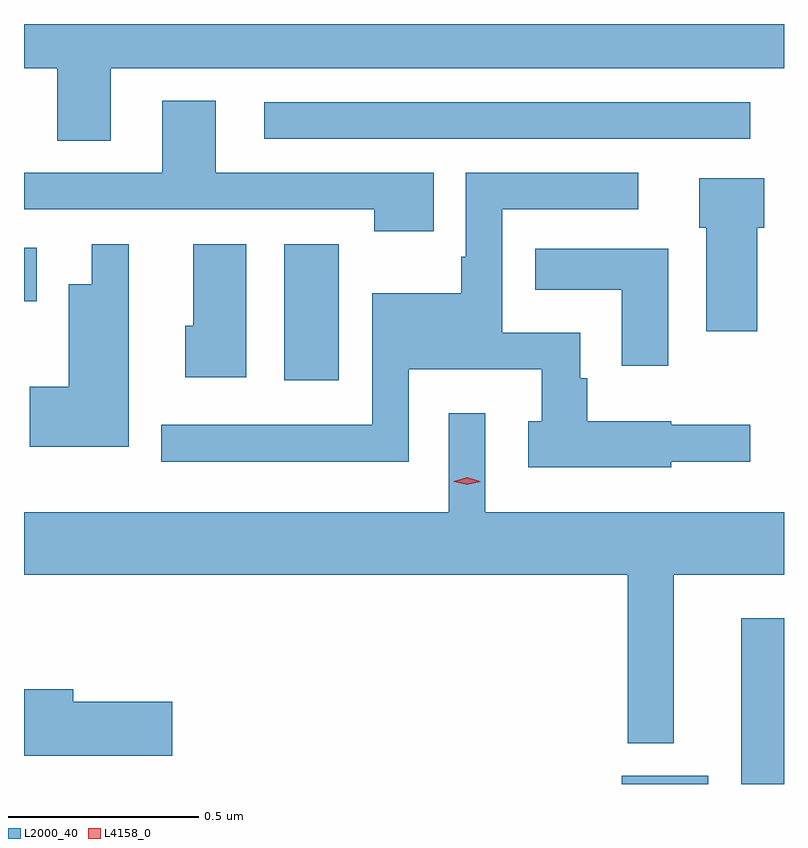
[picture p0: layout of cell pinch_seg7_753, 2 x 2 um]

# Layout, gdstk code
import gdstk
lib = gdstk.Library(unit=1e-6, precision=1e-09)
def R(c, l, rs):  # rectangles x0, y0, x1, y1
    for r in rs: c.add(gdstk.rectangle(r[:2], r[2:], *l))
def P(c, l, *ps):  # polygons
    for p in ps: c.add(gdstk.Polygon(p, *l))
L2000_40 = (2000, 40)
L4158_0 = (4158, 0)

pinch_seg7_753 = lib.new_cell('pinch_seg7_753')
R(pinch_seg7_753, L2000_40, [(367.382,1012.053,367.609,1012.075), (367.697,1012.053,367.809,1012.489), (366.494,1013.115,366.637,1013.473), (365.809,1013.324,365.842,1013.464), (366.441,1013.751,367.72,1013.847)])
P(pinch_seg7_753, L2000_40, [(366.037,1013.936),(367.809,1013.936),(367.809,1014.053),(365.809,1014.053),(365.809,1013.936),(365.897,1013.936),(365.897,1013.746),(366.037,1013.746)],
  [(366.887,1013.661),(366.313,1013.661),(366.313,1013.851),(366.173,1013.851),(366.173,1013.661),(365.809,1013.661),(365.809,1013.565),(366.731,1013.565),(366.731,1013.508),(366.887,1013.508)],
  [(367.512,1012.901),(367.72,1012.901),(367.72,1012.999),(367.512,1012.999),(367.512,1013.008),(367.291,1013.008),(367.291,1013.121),(367.273,1013.121),(367.273,1013.241),(367.068,1013.241),(367.068,1013.565),(367.426,1013.565),(367.426,1013.661),(366.972,1013.661),(366.972,1013.44),(366.96,1013.44),(366.96,1013.344),(366.726,1013.344),(366.726,1012.998),(366.17,1012.998),(366.17,1012.901),(366.822,1012.901),(366.822,1013.145),(367.172,1013.145),(367.172,1013.008),(367.136,1013.008),(367.136,1012.886),(367.512,1012.886)],
  [(367.739,1013.517),(367.757,1013.517),(367.757,1013.647),(367.586,1013.647),(367.586,1013.517),(367.604,1013.517),(367.604,1013.244),(367.739,1013.244)],
  [(366.085,1013.473),(365.987,1013.473),(365.987,1013.368),(365.927,1013.368),(365.927,1013.098),(365.824,1013.098),(365.824,1012.94),(366.085,1012.94)],
  [(366.394,1013.473),(366.254,1013.473),(366.254,1013.259),(366.233,1013.259),(366.233,1013.123),(366.394,1013.123)],
  [(367.504,1013.461),(367.155,1013.461),(367.155,1013.354),(367.382,1013.354),(367.382,1013.154),(367.504,1013.154)],
  [(367.519,1012.604),(367.809,1012.604),(367.809,1012.768),(367.023,1012.768),(367.023,1013.029),(366.927,1013.029),(366.927,1012.768),(365.809,1012.768),(365.809,1012.604),(367.398,1012.604),(367.398,1012.16),(367.519,1012.16)],
  [(366.199,1012.269),(365.938,1012.269),(365.938,1012.303),(365.809,1012.303),(365.809,1012.174),(365.81,1012.174),(365.81,1012.127),(366.199,1012.127)])
P(pinch_seg7_753, L4158_0, [(366.975,1012.84),(366.94,1012.849),(366.94,1012.85),(366.94,1012.85),(366.975,1012.86),(367.01,1012.85),(367.01,1012.85),(367.01,1012.849)])

lib.write_gds('pinch_seg7_753.gds')
